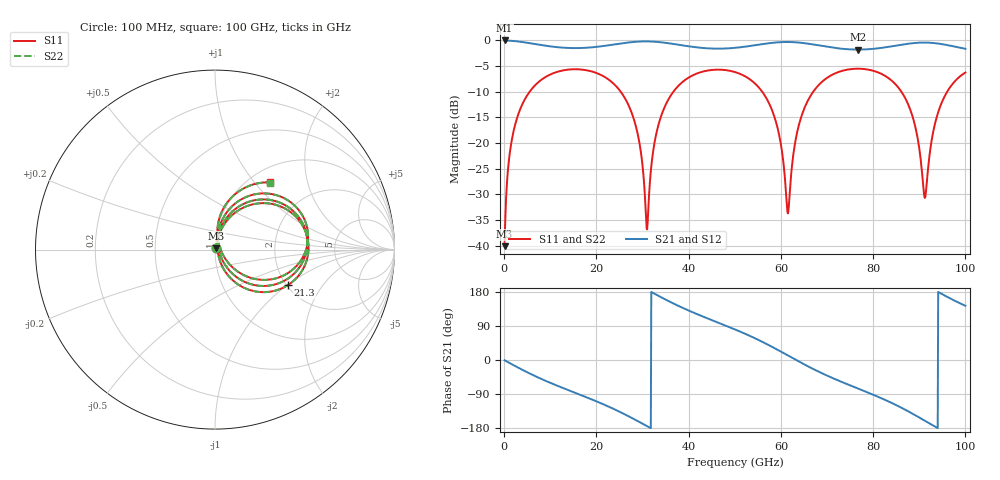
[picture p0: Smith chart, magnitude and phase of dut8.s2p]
! Touchstone file exported from HFSS 2026.1.0
!  File:  C:/ffzhzh/LocalFiles/Ansys_Project_Files/temp_train_TSV_RDL_8_1783612079_33328.aedt
!  Generated:  11:55:10 PM Jul  9, 2026
!  Design:  TSV_RDL
!  Project:  temp_train_TSV_RDL_8_1783612079_33328
! Variables:
!  h_bsmrdl = 4.47um
!  h_ox = 20um
!  h_rdl = 5um
!  h_sub = 78.41um
!  h_tmrdl = 3.17um
!  h_tsv = 78.41um
!  h_via = 3um
!  l_bsmrdl = 190.94um
!  l_sub = 1836.81um
!  l_tmrdl = 178.52um
!  m_sub = 200um
!  pitch = 58.84um
!  r_tsv = 7.75um
!  s_tmrdl = 10um
!  w_bsmrdl = 25um
!  w_sub = 500um
!  w_tmrdl = 24.97um
!  x_tsv_center1 = 191.005um
!  x_tsv_center2 = 406.945um
!  x_tsv_center3 = 610.435um
!  x_tsv_center4 = 826.375um
!  x_tsv_center5 = 1029.865um
!  x_tsv_center6 = 1245.805um
# GHz S MA R 50.000000
! Terminal data exported
! Port[1] = TM_RDL1_1_T1
! Port[2] = TM_RDL5_1_T1
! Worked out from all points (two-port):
!   1000 points, 100 MHz to 100 GHz, reference 50 ohm
!   highest |S21| = -0.06 dB at 100 MHz (marker M1); lowest = -1.8 dB at 76.7 GHz (marker M2)
!   |S21| within 3 dB of the highest: start of sweep to end of sweep
!   lowest |S11| = -40.0 dB at 100 MHz (marker M3), VSWR 1.02, Z = 50.7 + j0.698 ohm
!   |S11| at or under -10 dB: 25.24 GHz to 36.71 GHz (11.47 GHz wide, 37 % of centre); 55.93 GHz to 67.03 GHz (11.11 GHz wide, 18.1 % of centre); 86.1 GHz to 96.07 GHz (9.966 GHz wide, 10.9 % of centre) (the widest 3 of 4)
!   |S22| runs from -40.0 to -5.6 dB; largest |S21 - S12| = 3.7e-14
!   S11 on the Smith chart (normalised r, x): 100 MHz: 1.01, +0.01; 21.3 GHz: 2.03, -1.01; 100 GHz: 1.24, +1.21
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0.1  0.009947 43.8  0.9929 -0.7  0.9929 -0.7  0.009947 43.8
! Gamma 0 0 0 0
! Port Impedance 50 0 50 0
1.5  0.09721 74.1  0.9856 -10.1  0.9856 -10.1  0.09721 74.1
4.1  0.2463 60.1  0.9563 -26.9  0.9563 -26.9  0.2463 60.1
16.8  0.5177 -4.3  0.8391 -93.3  0.8391 -93.3  0.5177 -4.3
21.3  0.4515 -26.0  0.8741 -115.8  0.8741 -115.8  0.4515 -26.1
28  0.1772 -61.7  0.9595 -155.0  0.9595 -155.0  0.1773 -61.8
29.6  0.08435 -66.8  0.97 -165.4  0.97 -165.4  0.08433 -67.0
30.9  0.01478 -9.7  0.9722 -174.0  0.9722 -174.0  0.01449 -10.2
33.4  0.1472 73.3  0.9595 169.6  0.9595 169.6  0.1472 73.4
39.4  0.4153 41.7  0.8791 133.8  0.8791 133.8  0.4153 41.7
50.1  0.4886 -9.6  0.8421 80.4  0.8421 80.4  0.4886 -9.6
57.9  0.2184 -49.9  0.939 36.0  0.939 36.0  0.2184 -49.8
59.8  0.1091 -56.6  0.9553 23.5  0.9553 23.5  0.1092 -56.4
61.5  0.02069 8.9  0.9596 12.1  0.9596 12.1  0.02099 8.9
63.6  0.1319 78.5  0.9499 -2.0  0.9499 -2.0  0.1319 78.3
66.7  0.3008 64.1  0.912 -21.9  0.912 -21.9  0.3007 64.1
76.7  0.5277 14.3  0.8098 -75.2  0.8098 -75.2  0.5277 14.2
83.4  0.4253 -18.1  0.8617 -109.7  0.8617 -109.7  0.4252 -18.1
88.3  0.1959 -42.8  0.9311 -140.1  0.9311 -140.1  0.1958 -42.9
91.2  0.02928 17.0  0.947 -160.2  0.947 -160.2  0.02928 17.0
94.4  0.2182 79.6  0.9223 177.5  0.9223 177.5  0.2182 79.5
100  0.4849 50.5  0.8238 143.0  0.8238 143.0  0.4849 50.4
